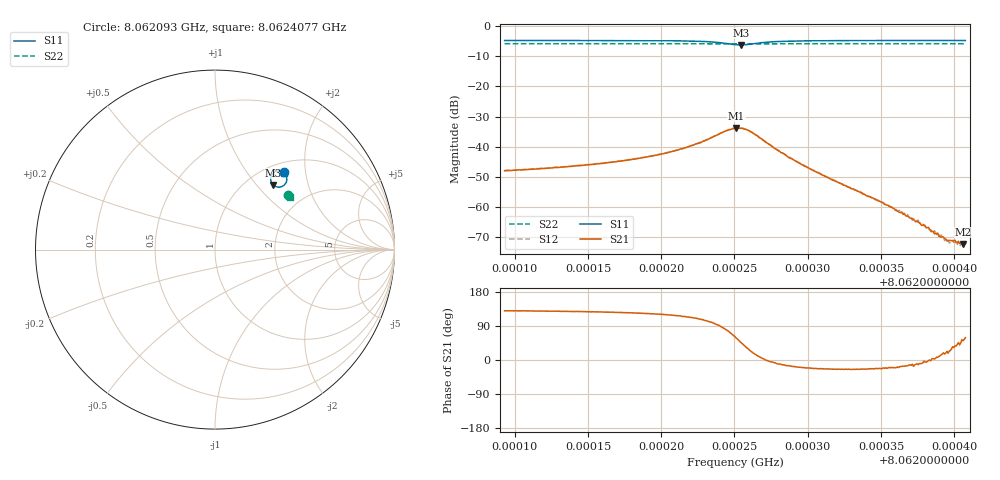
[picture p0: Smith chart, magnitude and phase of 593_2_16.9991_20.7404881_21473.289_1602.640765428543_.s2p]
#  HZ  S  RI  R  50.00
! Rohde & Schwarz Vector Network Analyzer
! Rohde-Schwarz,ZNB20-2Port,1311601062101988,3.16
! Created: UTC 3/20/2024, 11:18:42 PM
! freq[Hz]  re:S11  im:S11  re:S21  im:S21  re:S12  im:S12  re:S22  im:S22
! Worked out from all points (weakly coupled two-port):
!   401 points, 8.062093 GHz to 8.0624077 GHz, reference 50 ohm
!   highest |S21| = -33.81 dB at 8.0622512 GHz (marker M1); lowest = -72.3 dB at 8.0624061 GHz (marker M2)
!   lowest |S11| = -6.3 dB at 8.0622543 GHz (marker M3), VSWR 2.88, Z = 65.3 + j61.5 ohm
!   |S11| at or under -10 dB: nowhere
!   |S22| runs from -5.9 to -5.9 dB; largest |S21 - S12| = 0.0012
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8.06209305e9  0.3835 0.4296  -0.00257 0.00307  -0.0024 0.00323  0.4063 0.3063
8.06214576e9  0.3889 0.4237  -0.00301 0.00388  -0.00282 0.0041  0.4082 0.3033
8.06217565e9  0.3931 0.4181  -0.00339 0.00486  -0.00312 0.0051  0.4094 0.3016
8.06219846e9  0.397 0.4106  -0.0038 0.00637  -0.00346 0.00664  0.4102 0.3002
8.06222049e9  0.4004 0.3951  -0.00394 0.00958  -0.00333 0.00988  0.4107 0.2985
8.06223858e9  0.3903 0.3645  -0.000734 0.0157  0.000207 0.016  0.4105 0.2964
8.06225038e9  0.3447 0.3493  0.00967 0.0177  0.0108 0.0174  0.4088 0.2959
8.06225117e9  0.3405 0.3506  0.0108 0.0173  0.0118 0.0169  0.4086 0.2959
8.06225431e9  0.3248 0.3601  0.014 0.0148  0.0148 0.0142  0.4081 0.2963
8.06226061e9  0.3107 0.391  0.0164 0.00757  0.0168 0.00685  0.4081 0.2975
8.06227241e9  0.3283 0.4285  0.0116 -0.000313  0.0116 -0.000933  0.4097 0.2984
8.06228657e9  0.3503 0.4375  0.00652 -0.00178  0.00658 -0.00223  0.4114 0.298
8.06230309e9  0.3638 0.4371  0.00381 -0.00153  0.00376 -0.00177  0.4126 0.2969
8.06235579e9  0.3802 0.4309  0.000964 -0.000343  0.000959 -0.000427  0.415 0.2938
8.06237388e9  0.383 0.4291  0.000558 -0.000114  0.000601 -0.000167  0.4157 0.2928
8.06238254e9  0.384 0.4285  0.000461 -1.19e-05  0.000437 -5.9e-05  0.4159 0.2924
8.06239512e9  0.3857 0.4274  0.000254 0.000108  0.000299 6.06e-05  0.4163 0.2917
8.06239827e9  0.386 0.4272  0.000242 0.000138  0.000258 0.000111  0.4165 0.2914
8.06239984e9  0.3862 0.4269  0.000236 0.000152  0.000212 0.000152  0.4165 0.2915
8.06240378e9  0.3866 0.4267  0.000193 0.000161  0.000191 0.00012  0.4167 0.2912
8.06240614e9  0.3868 0.4264  0.000155 0.000189  0.000168 0.000167  0.4167 0.2911
8.06240771e9  0.387 0.4263  0.000129 0.000214  0.000155 0.000204  0.4168 0.2911
